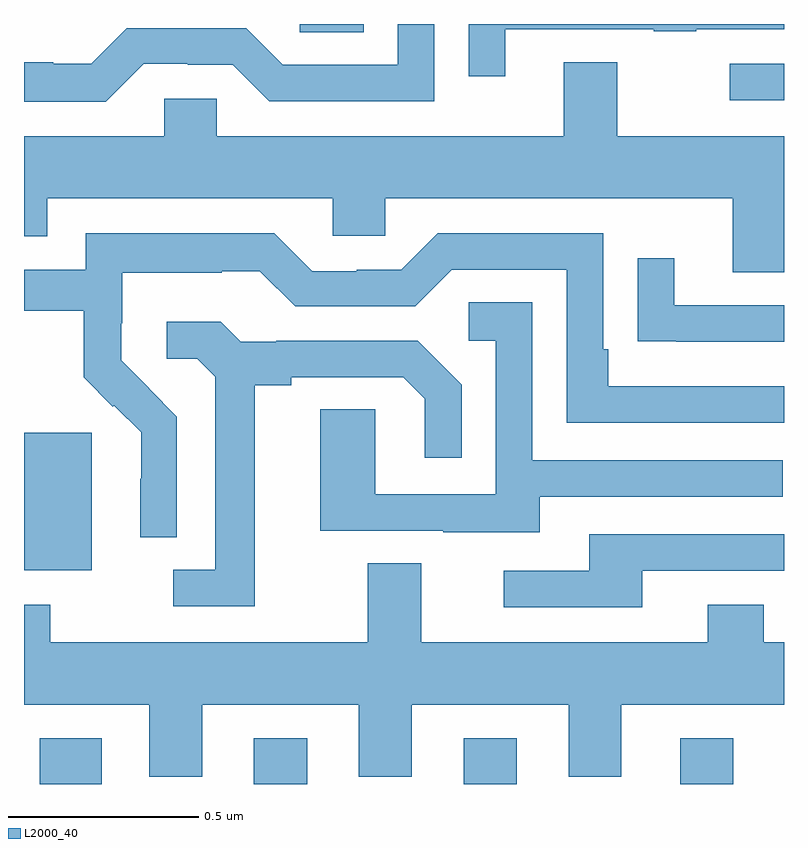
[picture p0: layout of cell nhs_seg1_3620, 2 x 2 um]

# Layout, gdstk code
import gdstk
lib = gdstk.Library(unit=1e-6, precision=1e-09)
def R(c, l, rs):  # rectangles x0, y0, x1, y1
    for r in rs: c.add(gdstk.rectangle(r[:2], r[2:], *l))
def P(c, l, *ps):  # polygons
    for p in ps: c.add(gdstk.Polygon(p, *l))
L2000_40 = (2000, 40)

nhs_seg1_3620 = lib.new_cell('nhs_seg1_3620')
R(nhs_seg1_3620, L2000_40, [(156.041,542.199,156.205,542.32), (156.605,542.199,156.745,542.32), (157.157,542.199,157.297,542.32), (157.727,542.199,157.867,542.32), (156,542.762,156.178,543.123), (157.857,543.999,158,544.095), (156.726,544.177,156.894,544.199)])
P(nhs_seg1_3620, L2000_40, [(157.267,544.185),(157.657,544.185),(157.657,544.18),(157.769,544.18),(157.769,544.185),(158,544.185),(158,544.199),(157.171,544.199),(157.171,544.062),(157.267,544.062)],
  [(156.315,544.095),(156.431,544.095),(156.431,544.092),(156.549,544.092),(156.645,543.996),(157.08,543.996),(157.08,544.199),(156.984,544.199),(156.984,544.092),(156.681,544.092),(156.585,544.188),(156.27,544.188),(156.177,544.095),(156.077,544.095),(156.077,544.099),(156,544.099),(156,543.995),(156.215,543.995)],
  [(158,543.904),(157.561,543.904),(157.561,544.099),(157.421,544.099),(157.421,543.904),(156.507,543.904),(156.507,544.002),(156.369,544.002),(156.369,543.904),(156,543.904),(156,543.641),(156.061,543.641),(156.061,543.74),(156.813,543.74),(156.813,543.642),(156.951,543.642),(156.951,543.74),(157.865,543.74),(157.865,543.546),(158,543.546)],
  [(156.402,543.166),(156.329,543.239),(156.33,543.24),(156.256,543.314),(156.256,543.411),(156.258,543.411),(156.258,543.545),(156.521,543.545),(156.521,543.549),(156.621,543.549),(156.714,543.456),(157.029,543.456),(157.125,543.552),(157.428,543.552),(157.428,543.15),(158,543.15),(158,543.246),(157.537,543.246),(157.537,543.343),(157.524,543.343),(157.524,543.648),(157.089,543.648),(156.993,543.552),(156.875,543.552),(156.875,543.549),(156.759,543.549),(156.659,543.649),(156.162,543.649),(156.162,543.552),(156,543.552),(156,543.444),(156.157,543.444),(156.157,543.269),(156.234,543.192),(156.237,543.195),(156.308,543.125),(156.308,543.002),(156.306,543.002),(156.306,542.848),(156.402,542.848)],
  [(158,543.459),(157.711,543.459),(157.711,543.583),(157.615,543.583),(157.615,543.364),(157.717,543.364),(157.717,543.363),(158,543.363)],
  [(157.357,542.955),(157.997,542.955),(157.997,543.051),(157.338,543.051),(157.338,543.467),(157.17,543.467),(157.17,543.366),(157.242,543.366),(157.242,542.961),(156.924,542.961),(156.924,543.185),(156.779,543.185),(156.779,542.865),(157.103,542.865),(157.103,542.861),(157.357,542.861)],
  [(156.607,543.248),(156.703,543.248),(156.703,543.27),(156.998,543.27),(157.055,543.213),(157.055,543.057),(157.152,543.057),(157.152,543.25),(157.036,543.366),(156.664,543.366),(156.664,543.363),(156.57,543.363),(156.518,543.415),(156.375,543.415),(156.375,543.318),(156.456,543.318),(156.503,543.271),(156.503,542.763),(156.393,542.763),(156.393,542.667),(156.607,542.667)],
  [(157.627,542.76),(158,542.76),(158,542.856),(157.487,542.856),(157.487,542.76),(157.263,542.76),(157.263,542.664),(157.627,542.664)],
  [(156.469,542.408),(156.881,542.408),(156.881,542.218),(157.021,542.218),(157.021,542.408),(157.433,542.408),(157.433,542.218),(157.572,542.218),(157.572,542.408),(158,542.408),(158,542.572),(157.947,542.572),(157.947,542.671),(157.799,542.671),(157.799,542.572),(157.045,542.572),(157.045,542.78),(156.905,542.78),(156.905,542.572),(156.069,542.572),(156.069,542.671),(156,542.671),(156,542.408),(156.329,542.408),(156.329,542.218),(156.469,542.218)])

lib.write_gds('nhs_seg1_3620.gds')
